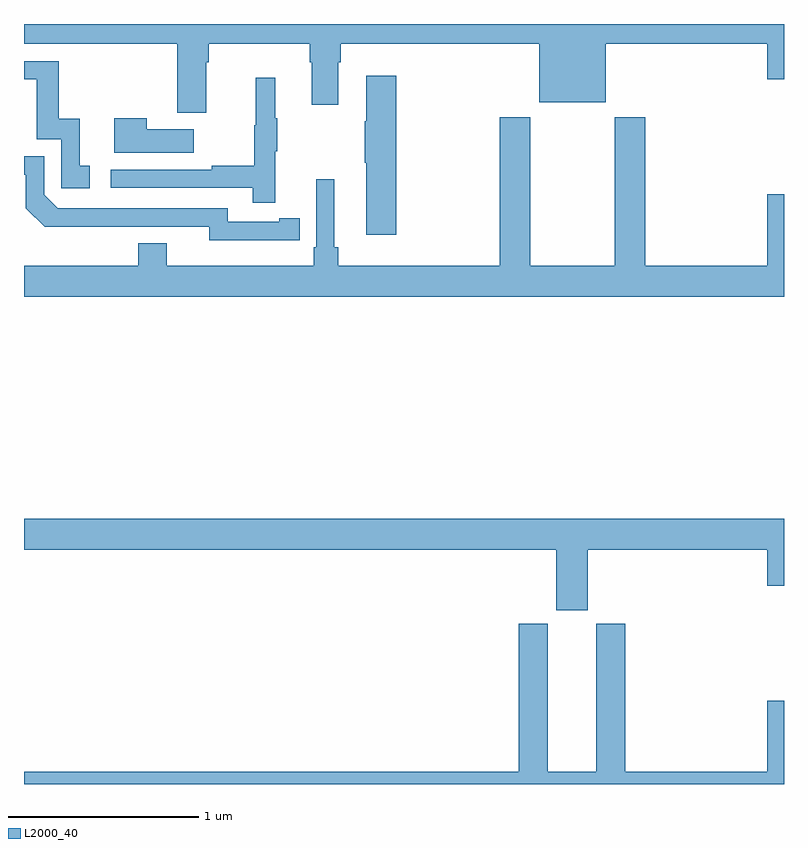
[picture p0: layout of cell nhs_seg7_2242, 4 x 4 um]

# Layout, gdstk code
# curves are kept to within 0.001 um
import gdstk
lib = gdstk.Library(unit=1e-6, precision=1e-09)
def P(c, l, *ps):  # polygons
    for p in ps: c.add(gdstk.Polygon(p, *l))
L2000_40 = (2000, 40)

nhs_seg7_2242 = lib.new_cell('nhs_seg7_2242')
P(nhs_seg7_2242, L2000_40, [(257.959,1053.8),(257.972,1053.8),(257.972,1053.896),(258.503,1053.896),(258.503,1053.8),(258.515,1053.8),(258.515,1053.576),(258.655,1053.576),(258.655,1053.8),(258.668,1053.8),(258.668,1053.896),(259.712,1053.896),(259.712,1053.587),(260.062,1053.587),(260.062,1053.896),(260.912,1053.896),(260.912,1053.708),(261,1053.708),(261,1054),(257,1054),(257,1053.896),(257.807,1053.896),(257.807,1053.534),(257.959,1053.534)],
  [(257.347,1053.255),(257.294,1053.255),(257.294,1053.502),(257.183,1053.502),(257.183,1053.804),(257,1053.804),(257,1053.708),(257.067,1053.708),(257.067,1053.393),(257.196,1053.393),(257.196,1053.135),(257.347,1053.135)],
  [(258.959,1053.727),(258.8,1053.727),(258.8,1053.488),(258.793,1053.488),(258.793,1053.271),(258.8,1053.271),(258.8,1052.892),(258.959,1052.892)],
  [(258.323,1053.331),(258.334,1053.331),(258.334,1053.505),(258.323,1053.505),(258.323,1053.718),(258.22,1053.718),(258.22,1053.468),(258.213,1053.468),(258.213,1053.254),(257.989,1053.254),(257.989,1053.234),(257.457,1053.234),(257.457,1053.138),(258.205,1053.138),(258.205,1053.06),(258.323,1053.06)],
  [(261,1053.103),(260.912,1053.103),(260.912,1052.728),(260.27,1052.728),(260.27,1053.508),(260.11,1053.508),(260.11,1052.728),(259.665,1052.728),(259.665,1053.508),(259.505,1053.508),(259.505,1052.728),(258.653,1052.728),(258.653,1052.824),(258.634,1052.824),(258.634,1053.184),(258.537,1053.184),(258.537,1052.824),(258.524,1052.824),(258.524,1052.728),(257.752,1052.728),(257.752,1052.845),(257.6,1052.845),(257.6,1052.728),(257,1052.728),(257,1052.564),(261,1052.564)],
  [(257.893,1053.445),(257.645,1053.445),(257.645,1053.505),(257.474,1053.505),(257.474,1053.323),(257.893,1053.323)],
  [(258.344,1052.862),(258.452,1052.862),(258.452,1052.978),(258.344,1052.978),(258.344,1052.958),(258.072,1052.958),(258.072,1053.03),(257.178,1053.03),(257.106,1053.102),(257.106,1053.303),(257,1053.303),(257,1053.207),(257.01,1053.207),(257.01,1053.03),(257.108,1052.933),(257.976,1052.934),(257.976,1052.861)],
  [(259.966,1051.232),(260.912,1051.232),(260.912,1051.044),(261,1051.044),(261,1051.396),(257,1051.396),(257,1051.232),(259.802,1051.232),(259.802,1050.915),(259.966,1050.915)],
  [(261,1050.439),(260.912,1050.439),(260.912,1050.064),(260.165,1050.064),(260.165,1050.843),(260.012,1050.843),(260.012,1050.064),(259.756,1050.064),(259.756,1050.843),(259.604,1050.843),(259.604,1050.064),(257,1050.064),(257,1050),(261,1050)])

lib.write_gds('nhs_seg7_2242.gds')
